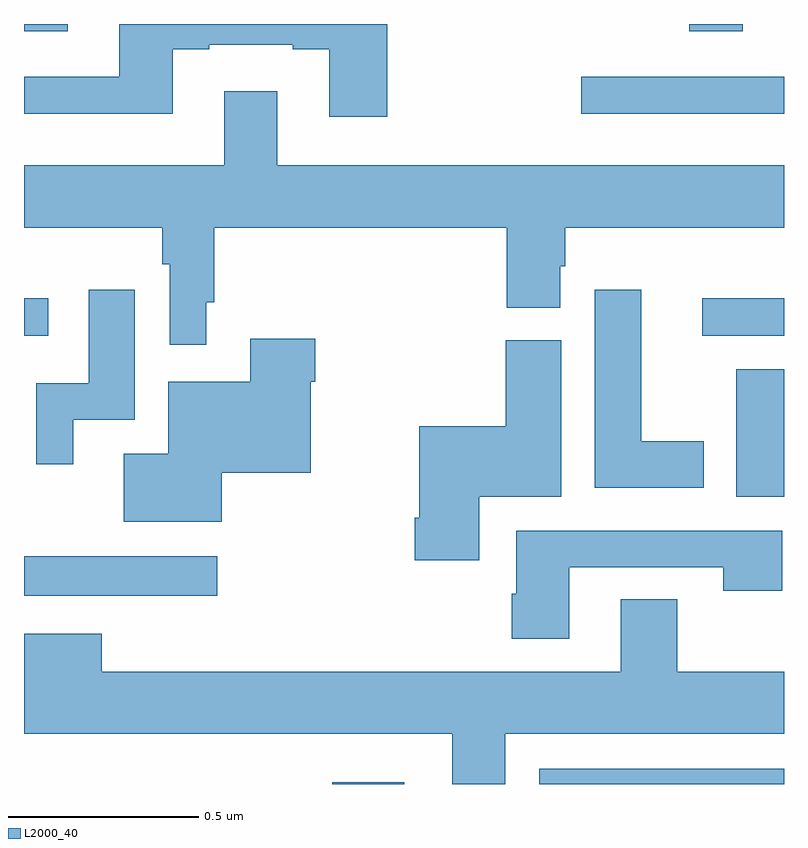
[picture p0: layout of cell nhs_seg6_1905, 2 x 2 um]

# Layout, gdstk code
import gdstk
lib = gdstk.Library(unit=1e-6, precision=1e-09)
def R(c, l, rs):  # rectangles x0, y0, x1, y1
    for r in rs: c.add(gdstk.rectangle(r[:2], r[2:], *l))
def P(c, l, *ps):  # polygons
    for p in ps: c.add(gdstk.Polygon(p, *l))
L2000_40 = (2000, 40)

nhs_seg6_1905 = lib.new_cell('nhs_seg6_1905')
R(nhs_seg6_1905, L2000_40, [(135.811,984.5,136,984.505), (136.356,984.5,137,984.54), (135,984.995,135.508,985.099), (136.874,985.256,137,985.591), (135,985.68,135.064,985.778), (136.785,985.68,137,985.778), (136.467,986.264,137,986.361), (135,986.481,135.115,986.5), (136.751,986.481,136.891,986.5)])
P(nhs_seg6_1905, L2000_40, [(135.956,986.5),(135.251,986.5),(135.251,986.361),(135,986.361),(135,986.264),(135.391,986.264),(135.391,986.433),(135.487,986.433),(135.487,986.445),(135.707,986.445),(135.707,986.433),(135.803,986.433),(135.803,986.256),(135.956,986.256)],
  [(135.48,985.768),(135.5,985.768),(135.5,985.964),(136.271,985.964),(136.271,985.753),(136.411,985.753),(136.411,985.863),(136.424,985.863),(136.424,985.964),(137,985.964),(137,986.128),(135.667,986.128),(135.667,986.323),(135.527,986.323),(135.527,986.128),(135,986.128),(135,985.964),(135.364,985.964),(135.364,985.868),(135.384,985.868),(135.384,985.656),(135.48,985.656)],
  [(135.13,985.458),(135.292,985.458),(135.292,985.801),(135.17,985.801),(135.17,985.554),(135.032,985.554),(135.032,985.341),(135.13,985.341)],
  [(136.789,985.402),(136.624,985.402),(136.624,985.801),(136.502,985.801),(136.502,985.28),(136.789,985.28)],
  [(135.52,985.319),(135.754,985.319),(135.754,985.559),(135.767,985.559),(135.767,985.672),(135.596,985.672),(135.596,985.558),(135.38,985.558),(135.38,985.369),(135.263,985.369),(135.263,985.19),(135.52,985.19)],
  [(136.198,985.256),(136.414,985.256),(136.414,985.668),(136.268,985.668),(136.268,985.441),(136.04,985.441),(136.04,985.201),(136.028,985.201),(136.028,985.089),(136.198,985.089)],
  [(136.435,985.071),(136.84,985.071),(136.84,985.008),(136.996,985.008),(136.996,985.167),(136.295,985.167),(136.295,985.001),(136.283,985.001),(136.283,984.882),(136.435,984.882)],
  [(136.267,984.632),(137,984.632),(137,984.796),(136.719,984.796),(136.719,984.986),(136.571,984.986),(136.571,984.796),(135.205,984.796),(135.205,984.895),(135,984.895),(135,984.632),(136.127,984.632),(136.127,984.5),(136.267,984.5)])

lib.write_gds('nhs_seg6_1905.gds')
